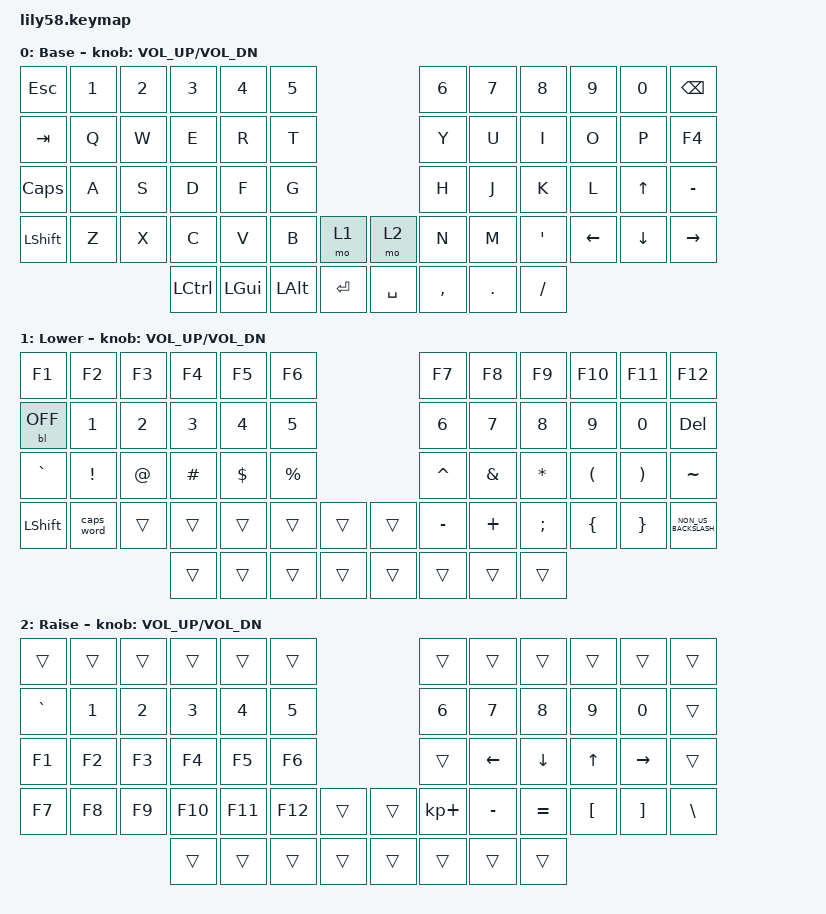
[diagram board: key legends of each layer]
/*
 * Copyright (c) 2020 The ZMK Contributors
 *
 * SPDX-License-Identifier: MIT
 */

#include <behaviors.dtsi>
#include <dt-bindings/zmk/backlight.h>
#include <dt-bindings/zmk/keys.h>

/ {
    keymap {
        compatible = "zmk,keymap";

        default_layer {
            // ------------------------------------------------------------------------------------------------------------
            // |  ESC  |  1  |  2  |  3   |  4   |  5   |                   |  6   |  7    |  8    |  9   |   0   |   `   |
            // |  TAB  |  Q  |  W  |  E   |  R   |  T   |                   |  Y   |  U    |  I    |  O   |   P   |   -   |
            // |  CTRL |  A  |  S  |  D   |  F   |  G   |                   |  H   |  J    |  K    |  L   |   ;   |   '   |
            // | SHIFT |  Z  |  X  |  C   |  V   |  B   |   "["  |  |  "]"  |  N   |  M    |  ,    |  .   |   /   | SHIFT |
            //                     | ALT  | GUI  | LOWER|  SPACE |  | ENTER | RAISE| BSPC  | GUI   |

            display-name = "Base";
            bindings = <
&kp ESC       &kp N1  &kp N2  &kp N3            &kp N4    &kp N5                                &kp N6     &kp N7      &kp N8     &kp N9          &kp N0          &kp BACKSPACE
&kp TAB       &kp Q   &kp W   &kp E             &kp R     &kp T                                 &kp Y      &kp U       &kp I      &kp O           &kp P           &kp F4
&kp CAPSLOCK  &kp A   &kp S   &kp D             &kp F     &kp G                                 &kp H      &kp J       &kp K      &kp L           &kp UP_ARROW    &kp MINUS
&kp LSHFT     &kp Z   &kp X   &kp C             &kp V     &kp B         &mo 1        &mo 2      &kp N      &kp M       &kp SQT    &kp LEFT_ARROW  &kp DOWN_ARROW  &kp RIGHT_ARROW
                              &kp LEFT_CONTROL  &kp LGUI  &kp LEFT_ALT  &kp ENTER    &kp SPACE  &kp COMMA  &kp PERIOD  &kp SLASH
            >;

            sensor-bindings = <&inc_dec_kp C_VOL_UP C_VOL_DN>;
        };

        lower_layer {
            // ------------------------------------------------------------------------------------------------------------
            // | BTCLR | BT1 | BT2 |  BT3 |  BT4 |  BT5 |                   |      |       |       |      |       |       |
            // |  F1   |  F2 |  F3 |  F4  |  F5  |  F6  |                   |  F7  |  F8   |  F9   |  F10 |  F11  |  F12  |
            // |   `   |  !  |  @  |  #   |  $   |  %   |                   |  ^   |  &    |  *    |  (   |   )   |   ~   |
            // |       |     |     |      |      |      |        |  |       |      |  _    |  +    |  {   |   }   |  "|"  |
            //                     |      |      |      |        |  |       |      |       |       |

            display-name = "Lower";
            bindings = <
&kp F1          &kp F2        &kp F3        &kp F4        &kp F5        &kp F6                       &kp F7        &kp F8    &kp F9         &kp F10   &kp F11   &kp F12
&bl BL_OFF      &kp NUMBER_1  &kp NUMBER_2  &kp NUMBER_3  &kp NUMBER_4  &kp N5                       &kp NUMBER_6  &kp N7    &kp N8         &kp N9    &kp N0    &kp DELETE
&kp GRAVE       &kp EXCL      &kp AT        &kp HASH      &kp DOLLAR    &kp PRCNT                    &kp CARET     &kp AMPS  &kp ASTERISK   &kp LPAR  &kp RPAR  &kp TILDE
&kp LEFT_SHIFT  &caps_word    &trans        &trans        &trans        &trans     &trans    &trans  &kp MINUS     &kp PLUS  &kp SEMICOLON  &kp LBRC  &kp RBRC  &kp NON_US_BACKSLASH
                                            &trans        &trans        &trans     &trans    &trans  &trans        &trans    &trans
            >;

            sensor-bindings = <&inc_dec_kp C_VOL_UP C_VOL_DN>;
        };

        raise_layer {
            // ------------------------------------------------------------------------------------------------------------
            // |       |     |     |      |      |      |                   |      |       |       |      |       |       |
            // |   `   |  1  |  2  |  3   |  4   |  5   |                   |  6   |   7   |   8   |  9   |   0   |       |
            // |   F1  |  F2 |  F3 |  F4  |  F5  |  F6  |                   |      |   <-  |   v   |  ^   |  ->   |       |
            // |   F7  |  F8 |  F9 |  F10 |  F11 |  F12 |        |  |       |  +   |   -   |   =   |  [   |   ]   |   \   |
            //                     |      |      |      |        |  |       |      |       |       |

            display-name = "Raise";
            bindings = <
&trans     &trans  &trans  &trans   &trans   &trans                     &trans       &trans     &trans     &trans    &trans     &trans
&kp GRAVE  &kp N1  &kp N2  &kp N3   &kp N4   &kp N5                     &kp N6       &kp N7     &kp N8     &kp N9    &kp N0     &trans
&kp F1     &kp F2  &kp F3  &kp F4   &kp F5   &kp F6                     &trans       &kp LEFT   &kp DOWN   &kp UP    &kp RIGHT  &trans
&kp F7     &kp F8  &kp F9  &kp F10  &kp F11  &kp F12  &trans    &trans  &kp KP_PLUS  &kp MINUS  &kp EQUAL  &kp LBKT  &kp RBKT   &kp BSLH
                           &trans   &trans   &trans   &trans    &trans  &trans       &trans     &trans
            >;

            sensor-bindings = <&inc_dec_kp C_VOL_UP C_VOL_DN>;
        };
    };
};
